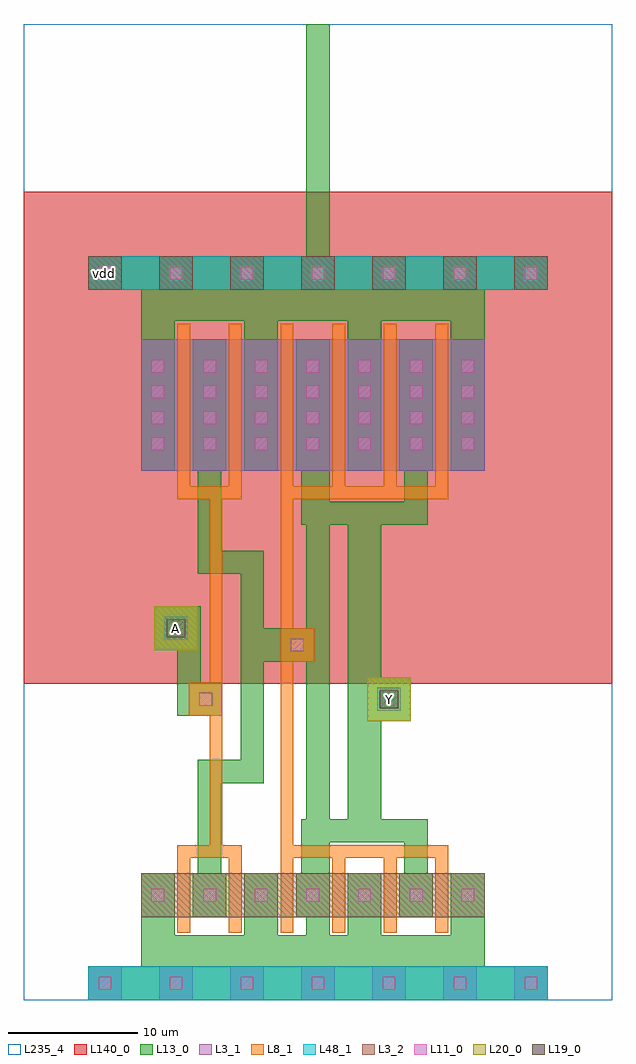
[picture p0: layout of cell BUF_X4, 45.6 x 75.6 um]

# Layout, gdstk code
import gdstk
lib = gdstk.Library(unit=1e-6, precision=1e-09)
def R(c, l, rs):  # rectangles x0, y0, x1, y1
    for r in rs: c.add(gdstk.rectangle(r[:2], r[2:], *l))
def A(c, l, x, y, w, h, nx, ny, dx, dy):  # array of equal rectangles
    R(c, l, [(x+i*dx, y+j*dy, x+i*dx+w, y+j*dy+h) for i in range(nx) for j in range(ny)])
def P(c, l, *ps):  # polygons
    for p in ps: c.add(gdstk.Polygon(p, *l))
L3_1 = (3, 1)
L3_2 = (3, 2)
L8_1 = (8, 1)
L11_0 = (11, 0)
L13_0 = (13, 0)
L19_0 = (19, 0)
L20_0 = (20, 0)
L48_1 = (48, 1)
L140_0 = (140, 0)
L235_4 = (235, 4)

buf_x4 = lib.new_cell('BUF_X4')
A(buf_x4, L3_1, 5, 0, 2.6, 2.6, 7, 1, 5.5, 0)
R(buf_x4, L3_1, [(9.1,41,35.7,51.2)])
A(buf_x4, L3_2, 5, 55, 2.6, 2.6, 7, 1, 5.5, 0)
R(buf_x4, L3_2, [(9.1,6.4,35.7,9.8)])
P(buf_x4, L8_1, [(11.9,5.2),(11.9,12),(14.4,12),(14.4,22),(12.8,22),(12.8,24.6),(14.4,24.6),(14.4,38.8),(11.9,38.8),(11.9,52.4),(12.9,52.4),(12.9,39.8),(15.9,39.8),(15.9,52.4),(16.9,52.4),(16.9,38.8),(15.4,38.8),(15.4,12),(16.9,12),(16.9,5.2),(15.9,5.2),(15.9,11),(12.9,11),(12.9,5.2)],
  [(19.9,5.2),(19.9,52.4),(20.9,52.4),(20.9,39.8),(23.9,39.8),(23.9,52.4),(24.9,52.4),(24.9,39.8),(27.9,39.8),(27.9,52.4),(28.9,52.4),(28.9,39.8),(31.9,39.8),(31.9,52.4),(32.9,52.4),(32.9,38.8),(20.9,38.8),(20.9,28.8),(22.5,28.8),(22.5,26.2),(20.9,26.2),(20.9,12),(32.9,12),(32.9,5.2),(31.9,5.2),(31.9,11),(28.9,11),(28.9,5.2),(27.9,5.2),(27.9,11),(24.9,11),(24.9,5.2),(23.9,5.2),(23.9,11),(20.9,11),(20.9,5.2)])
A(buf_x4, L11_0, 5.8, 0.8, 1, 1, 7, 2, 5.5, 55)
A(buf_x4, L11_0, 9.9, 7.6, 1, 1, 3, 2, 4, 35)
A(buf_x4, L11_0, 17.9, 7.6, 1, 1, 5, 2, 4, 35)
A(buf_x4, L11_0, 9.9, 44.6, 1, 1, 3, 3, 4, 2)
A(buf_x4, L11_0, 17.9, 44.6, 1, 1, 5, 3, 4, 2)
R(buf_x4, L11_0, [(13.6,22.8,14.6,23.8), (20.7,27,21.7,28)])
P(buf_x4, L13_0, [(11.9,22),(11.9,27.1),(10.1,27.1),(10.1,30.5),(13.7,30.5),(13.7,24.6),(15.4,24.6),(15.4,22)],
  [(5,0),(5,2.6),(9.1,2.6),(9.1,9.8),(11.7,9.8),(11.7,5),(17.1,5),(17.1,9.8),(19.7,9.8),(19.7,5),(21.9,5),(21.9,6.4),(21.1,6.4),(21.1,9.8),(21.5,9.8),(21.5,14),(21.9,14),(21.9,26.2),(18.6,26.2),(18.6,16.8),(15.3,16.8),(15.3,9.8),(15.7,9.8),(15.7,6.4),(13.1,6.4),(13.1,9.8),(13.5,9.8),(13.5,18.6),(16.8,18.6),(16.8,33),(13.5,33),(13.5,41),(13.1,41),(13.1,51.2),(15.7,51.2),(15.7,41),(15.3,41),(15.3,34.8),(18.6,34.8),(18.6,28.8),(21.9,28.8),(21.9,36.8),(23.7,36.8),(23.7,14),(25.1,14),(25.1,36.8),(21.5,36.8),(21.5,41),(21.1,41),(21.1,51.2),(23.7,51.2),(23.7,38.6),(29.5,38.6),(29.5,41),(29.1,41),(29.1,51.2),(31.7,51.2),(31.7,41),(31.3,41),(31.3,36.8),(27.7,36.8),(27.7,25),(30,25),(30,21.6),(27.7,21.6),(27.7,14),(31.3,14),(31.3,9.8),(31.7,9.8),(31.7,6.4),(29.1,6.4),(29.1,9.8),(29.5,9.8),(29.5,12.2),(23.7,12.2),(23.7,5),(25.1,5),(25.1,9.8),(27.7,9.8),(27.7,5),(33.1,5),(33.1,9.8),(35.7,9.8),(35.7,2.6),(40.6,2.6),(40.6,0)],
  [(9.1,41),(9.1,55),(5,55),(5,57.6),(21.9,57.6),(21.9,75.6),(23.7,75.6),(23.7,57.6),(40.6,57.6),(40.6,55),(35.7,55),(35.7,41),(33.1,41),(33.1,52.6),(27.7,52.6),(27.7,41),(25.1,41),(25.1,52.6),(19.7,52.6),(19.7,41),(17.1,41),(17.1,52.6),(11.7,52.6),(11.7,41)])
R(buf_x4, L19_0, [(27.6,22.6,29,24), (11.1,28.1,12.5,29.5)])
R(buf_x4, L20_0, [(26.6,21.6,30,25), (10.1,27.1,13.5,30.5)])
R(buf_x4, L48_1, [(5,0,40.6,2.6), (27.4,22.4,29.2,24.2), (10.9,27.9,12.7,29.7), (5,55,40.6,57.6)])
R(buf_x4, L140_0, [(0,24.5,45.6,62.6)])
R(buf_x4, L235_4, [(0,0,45.6,75.6)])
buf_x4.add(gdstk.Label('Y', (28.3,23.3), layer=48, texttype=0))
buf_x4.add(gdstk.Label('A', (11.8,28.8), layer=48, texttype=0))
buf_x4.add(gdstk.Label('vdd', (6.3,56.3), layer=48, texttype=0))
buf_x4.add(gdstk.Label('A', (11.8,28.8), layer=49, texttype=0))
buf_x4.add(gdstk.Label('Y', (28.3,23.3), layer=49, texttype=0))

lib.write_gds('BUF_X4.gds')
